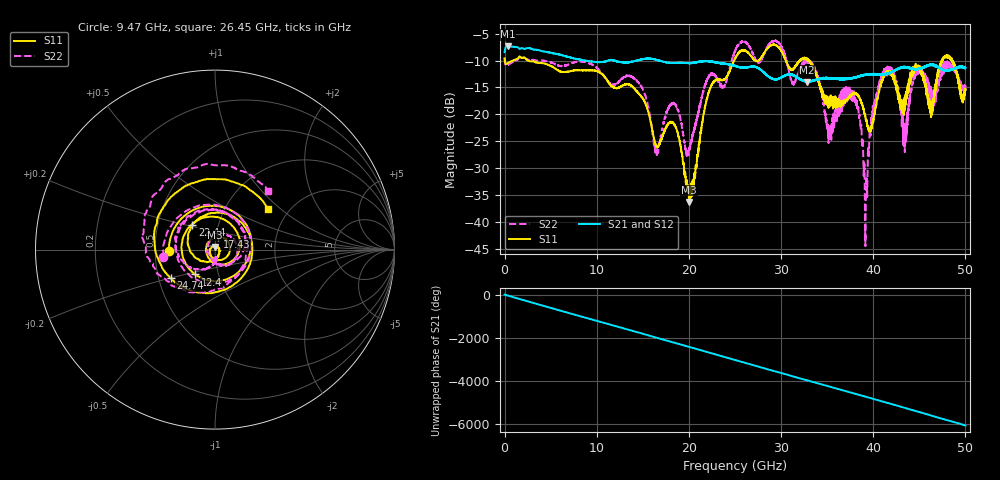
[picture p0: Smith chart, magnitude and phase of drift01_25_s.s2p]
!Created with skrf (http://scikit-rf.org).
# Hz S RI R 50.0
!freq ReS11 ImS11 ReS21 ImS21 ReS12 ImS12 ReS22 ImS22
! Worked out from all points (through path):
!   10001 points, 300 kHz to 50 GHz, reference 50 ohm
!   highest |S21| = -7.33 dB at 320.3 MHz (marker M1); lowest = -14.0 dB at 32.77 GHz (marker M2)
!   group delay of S21, straight-line fit = 335 ps
!   lowest |S11| = -36.3 dB at 20.01 GHz (marker M3), VSWR 1.03, Z = 49.8 + j1.53 ohm
!   |S11| at or under -10 dB: 2.557 GHz to 24.9 GHz (22.35 GHz wide, 163 % of centre); 30.51 GHz to 32.02 GHz (1.508 GHz wide, 4.82 % of centre); 33.05 GHz to 47.41 GHz (14.36 GHz wide, 35.7 % of centre) (the widest 3 of 22)
!   |S22| runs from -44.5 to -6.3 dB; largest |S21 - S12| = 0.008
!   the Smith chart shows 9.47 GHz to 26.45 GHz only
!   S11 on the Smith chart (normalised r, x): 9.47 GHz: 0.59, -0.01; 12.4 GHz: 0.77, -0.22; 17.43 GHz: 1.02, +0.15; 22.44 GHz: 0.75, +0.21; 24.74 GHz: 0.58, -0.20; 26.45 GHz: 1.59, +0.83
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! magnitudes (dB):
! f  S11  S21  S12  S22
! 300 kHz  -9.6  -8.4  -8.5  -9.5
! 320.3 MHz  -10.5  -7.3  -7.3  -10.9
! 8.335 GHz  -11.8  -9.9  -9.9  -10.2
! 9.47 GHz  -11.8  -10.2  -10.2  -10.7
! 12.4 GHz  -15.0  -10.2  -10.2  -13.9
! 16.67 GHz  -26.0  -10.0  -10.0  -27.1
! 17.43 GHz  -22.8  -10.3  -10.3  -20.5
! 20.01 GHz  -36.3  -10.5  -10.5  -26.4
! 22.44 GHz  -14.6  -10.1  -10.2  -12.5
! 24.74 GHz  -10.6  -10.9  -10.9  -9.4
! 25 GHz  -9.6  -11.0  -11.0  -8.3
! 26.45 GHz  -8.5  -11.2  -11.2  -7.1
! 32.77 GHz  -9.8  -14.0  -13.9  -10.0
! 33.34 GHz  -10.8  -13.8  -13.8  -10.5
! 35.23 GHz  -17.2  -13.3  -13.3  -22.5
! 38 GHz  -16.0  -13.1  -13.2  -17.3
! 39.17 GHz  -20.6  -12.6  -12.6  -41.2
! 40.15 GHz  -19.9  -12.5  -12.6  -17.8
! 41.67 GHz  -12.1  -12.3  -12.3  -11.6
! 43.42 GHz  -17.5  -11.2  -11.3  -26.1
! 44.87 GHz  -11.0  -11.5  -11.6  -11.8
! 50 GHz  -15.4  -11.3  -11.4  -15.0
